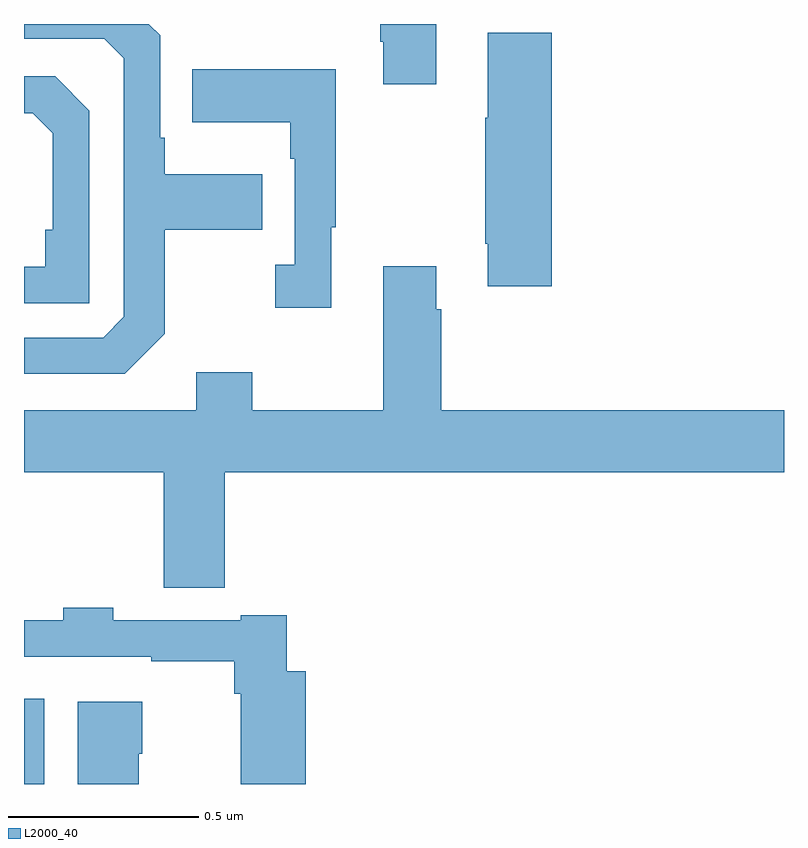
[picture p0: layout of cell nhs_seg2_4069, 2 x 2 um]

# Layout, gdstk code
import gdstk
lib = gdstk.Library(unit=1e-6, precision=1e-09)
def R(c, l, rs):  # rectangles x0, y0, x1, y1
    for r in rs: c.add(gdstk.rectangle(r[:2], r[2:], *l))
def P(c, l, *ps):  # polygons
    for p in ps: c.add(gdstk.Polygon(p, *l))
L2000_40 = (2000, 40)

nhs_seg2_4069 = lib.new_cell('nhs_seg2_4069')
R(nhs_seg2_4069, L2000_40, [(161,662.8,161.053,663.025)])
P(nhs_seg2_4069, L2000_40, [(162.085,664.8),(161.938,664.8),(161.938,664.753),(161.945,664.753),(161.945,664.641),(162.085,664.641)],
  [(161.371,663.985),(161.371,664.258),(161.627,664.258),(161.627,664.405),(161.371,664.405),(161.371,664.501),(161.358,664.501),(161.358,664.77),(161.328,664.8),(161,664.8),(161,664.761),(161.211,664.761),(161.262,664.71),(161.262,664.029),(161.208,663.975),(161,663.975),(161,663.879),(161.265,663.879)],
  [(162.389,664.777),(162.221,664.777),(162.221,664.553),(162.214,664.553),(162.214,664.222),(162.221,664.222),(162.221,664.11),(162.389,664.11)],
  [(161.809,664.265),(161.821,664.265),(161.821,664.681),(161.443,664.681),(161.443,664.541),(161.7,664.541),(161.7,664.445),(161.712,664.445),(161.712,664.166),(161.661,664.166),(161.661,664.053),(161.809,664.053)],
  [(161.172,664.572),(161.082,664.662),(161,664.662),(161,664.565),(161.023,664.565),(161.076,664.512),(161.076,664.258),(161.056,664.258),(161.056,664.161),(161,664.161),(161,664.065),(161.172,664.065)],
  [(161.528,663.62),(163,663.62),(163,663.784),(162.098,663.784),(162.098,664.049),(162.085,664.049),(162.085,664.162),(161.945,664.162),(161.945,663.784),(161.601,663.784),(161.601,663.883),(161.453,663.883),(161.453,663.784),(161,663.784),(161,663.62),(161.368,663.62),(161.368,663.316),(161.528,663.316)],
  [(161.741,663.097),(161.692,663.097),(161.692,663.244),(161.57,663.244),(161.57,663.231),(161.235,663.231),(161.235,663.264),(161.103,663.264),(161.103,663.231),(161,663.231),(161,663.135),(161.335,663.135),(161.335,663.123),(161.553,663.123),(161.553,663.038),(161.57,663.038),(161.57,662.8),(161.741,662.8)],
  [(161.302,662.88),(161.311,662.88),(161.311,663.016),(161.141,663.016),(161.141,662.8),(161.302,662.8)])

lib.write_gds('nhs_seg2_4069.gds')
